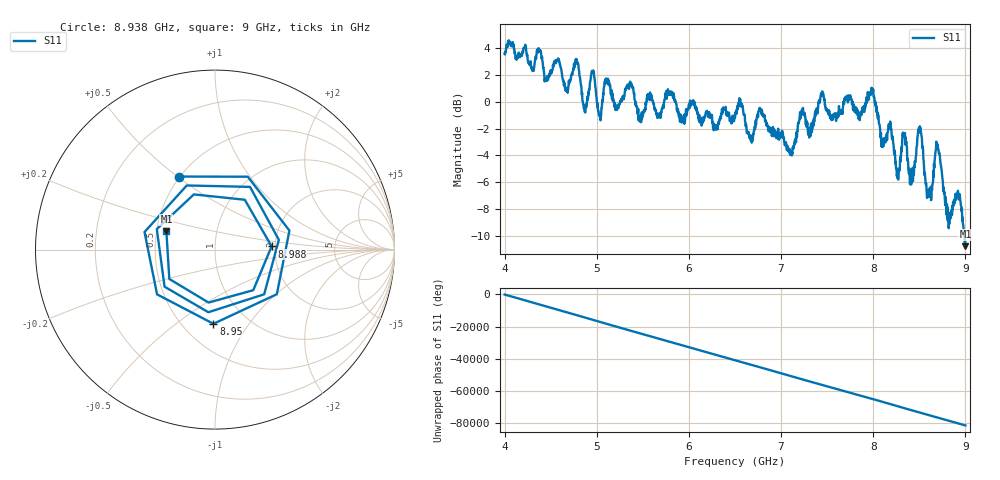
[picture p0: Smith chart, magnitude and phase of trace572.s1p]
! Created with skrf 1.8.0 (http://scikit-rf.org).
# Hz S RI R 50.0
!freq ReS11 ImS11
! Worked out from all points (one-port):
!   1601 points, 4 GHz to 9 GHz, reference 50 ohm
!   lowest |S11| = -10.8 dB at 9 GHz (marker M1), VSWR 1.81, Z = 28.2 + j6.21 ohm
!   |S11| at or under -10 dB: 8.987878 GHz to end of sweep
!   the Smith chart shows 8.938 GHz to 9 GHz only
!   S11 on the Smith chart (normalised r, x): 8.938 GHz: 0.50, +0.51; 8.95 GHz: 0.70, -0.70; 8.988 GHz: 1.92, +0.08; 9 GHz: 0.56, +0.12
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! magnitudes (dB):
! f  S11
! 4 GHz  3.6
! 4.625 GHz  1.9
! 4.784 GHz  2.9
! 4.869 GHz  -0.7
! 4.953 GHz  2.2
! 5.028 GHz  -1.0
! 5.109 GHz  1.5
! 5.25 GHz  -0.1
! 5.875 GHz  -0.7
! 6.5 GHz  -1.2
! 7.125 GHz  -3.4
! 7.438 GHz  0.5
! 7.75 GHz  0.4
! 7.988 GHz  1.0
! 8.103 GHz  -3.2
! 8.191 GHz  -2.1
! 8.262 GHz  -5.7
! 8.334 GHz  -2.4
! 8.375 GHz  -4.3
! 8.422 GHz  -5.2
! 8.503 GHz  -1.9
! 8.606 GHz  -7.1
! 8.697 GHz  -3.3
! 8.819 GHz  -9.4
! 8.938 GHz  -6.9
! 8.95 GHz  -7.7
! 8.988 GHz  -10.0
! 9 GHz  -10.8
